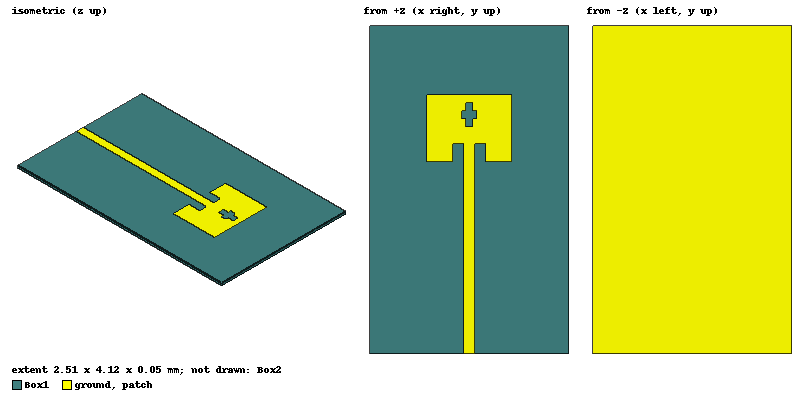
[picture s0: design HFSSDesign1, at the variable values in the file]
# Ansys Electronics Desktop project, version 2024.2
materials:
  vacuum: permittivity=1
  Rogers RT/duroid 5880 (tm): permittivity=2.2 dielectric_loss_tangent=0.0009
  air: permittivity=1.0006 permeability=1.0000004
  Arlon AD320A (tm): permittivity=3.2 dielectric_loss_tangent=0.0032
  benzocyclobuten: permittivity=2.6

design HFSSDesign1 (HFSS, HFSS Terminal Network, model units mm)
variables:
  sw = 2.51mm
  sl = 4.12mm
  hs = 50um
  ml = 2.416mm
  wp = 1.06mm
  lp = 0.835mm
  mw = 0.14mm
  s = 0.14mm
  d = 0.2mm
  pw = 0.14mm
  sloth_L = 0.2mm
  sloth_W = 0.1mm
  slotv_W = 0.1mm
  slotv_L = 0.3mm
  air = 6mm
  depth = 0.22mm
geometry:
  Box1 [benzocyclobuten] = box(corner=(-sw/2, -sl/2, 0mm), size=(sw, sl, -hs))
  patch = rectangle(corner=(-wp/2, -sl/2+ml, 0mm), x_size=wp, y_size=lp)
  Rectangle5 = rectangle(corner=(mw/2, -sl/2+ml, 0mm), x_size=s, y_size=depth)
  Rectangle6 = rectangle(corner=(-mw/2, -sl/2+ml, 0mm), x_size=-s, y_size=depth)
  patch.subtract(Rectangle5, Rectangle6)
  Rectangle1 = rectangle(corner=(-mw/2, -sl/2, 0mm), x_size=mw, y_size=ml)
  patch.unite(Rectangle1)
  ground = rectangle(corner=(-sw/2, -sl/2, -hs), x_size=sw, y_size=sl)
  Rectangle4 = rectangle(corner=(-pw/2, -sl/2, 0mm), z_size=-hs, x_size=pw)
  Rectangle7 = rectangle(corner=(-sloth_L/2, -sl/2+ml+lp-0.2mm, 0mm), x_size=sloth_L, y_size=-sloth_W)
  Rectangle8 = rectangle(corner=(-slotv_W/2, -sl/2+ml+lp-0.1mm, 0mm), x_size=slotv_W, y_size=-slotv_L)
  Rectangle8.unite(Rectangle7)
  patch.subtract(Rectangle8)
  Box2 [air] = box(corner=(-air/2, -air/2, -air/5), size=(air, air, 2*air/5))
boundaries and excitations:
  PerfE1: Perfect E Objects=[patch, ground]
  Rad1: Radiation Objects=Box2
  1: Lumped Port Objects=Rectangle4 LumpedPortType=Modal Modes{Mode1{IntLine{(0, -2.06, -0.05) -> (0, -2.06, 0)} CharImp=Zpi RenormImp=50ohm}} Impedance=50ohm
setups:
  Setup1: HfssDriven Frequency=105GHz MaxDeltaS=0.02 MaximumPasses=6 MinimumPasses=1 MinimumConvergedPasses=1 PercentRefinement=30 BasisOrder=1 PortAccuracy=2 DrivenSolverType="Direct Solver"
    sweep Sweep: 95GHz to 115GHz, 100 points; Type=Fast SaveFields
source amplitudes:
  1:1: 1V 0deg
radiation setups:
  Infinite Sphere1: Infinite Sphere Theta=-90deg..90deg step 2deg Phi=-180deg..180deg step 2deg
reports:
  S Parameter Plot 1: dB(S(1,1)) vs Freq on Setup1 : Sweep; markers m1 at 106.625GHz, m4 at 105.90909GHz, m5 at 104.975GHz
  VSWR Plot 1: VSWR(1) vs Freq on Setup1 : Sweep [sloth_W=0.1mm]; markers m1 at 105.8GHz
  Gain Plot 1: dB(GainTotal) vs Freq on Setup1 : Sweep, Infinite Sphere1 [Phi=0deg Theta=0deg sloth_L=0.2mm sloth_W=0.1mm slotv_W=0.1mm slotv_L=0.3mm]; markers m1 at 105.8GHz, m2 at 104.9GHz, m3 at 106.7GHz
  Gain Plot 2: dB(GainPhi), dB(GainTheta) vs Theta on Setup1 : Sweep, Infinite Sphere1 [Phi=0deg Freq=105.909GHz sloth_L=0.2mm sloth_W=0.1mm slotv_W=0.1mm slotv_L=0.3mm]
  Gain Plot 3: dB(GainPhi), dB(GainTheta) vs Theta on Setup1 : Sweep, Infinite Sphere1 [Phi=90deg Freq=105.909GHz sloth_L=0.2mm sloth_W=0.1mm slotv_W=0.1mm slotv_L=0.3mm]
  Gain Plot 4: dB(GainTotal) vs Phi, Theta on Setup1 : Sweep, Infinite Sphere1 [Freq=105.909GHz sloth_L=0.2mm sloth_W=0.1mm slotv_W=0.1mm slotv_L=0.3mm]
